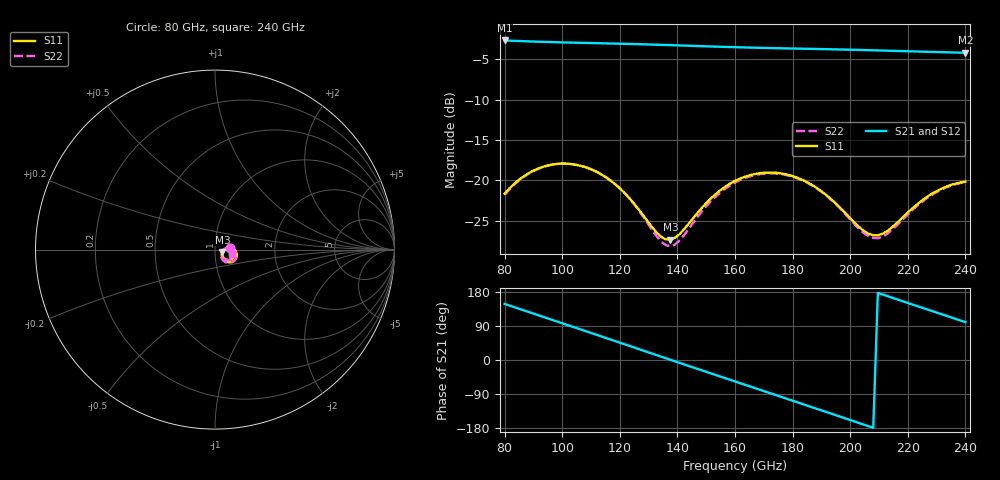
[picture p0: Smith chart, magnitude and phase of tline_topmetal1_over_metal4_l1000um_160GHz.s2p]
#  GHZ S DB R 50
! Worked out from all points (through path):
!   101 points, 80 GHz to 240 GHz, reference 50 ohm
!   highest |S21| = -2.70 dB at 80 GHz (marker M1); lowest = -4.2 dB at 240 GHz (marker M2)
!   group delay of S21, straight-line fit = 7.09 ps
!   lowest |S11| = -27.3 dB at 137.6 GHz (marker M3), VSWR 1.09, Z = 54.3 - j1.42 ohm
!   |S11| at or under -10 dB: start of sweep to end of sweep
!   |S22| runs from -28.1 to -17.9 dB; largest |S21 - S12| = 1.1e-13
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80  -21.64 5.9  -2.70 147.9  -2.70 147.9  -21.79 5.7
88  -19.18 -1.6  -2.81 127.5  -2.81 127.5  -19.24 -2.0
94.4  -18.21 -10.8  -2.88 111.2  -2.88 111.2  -18.23 -11.6
100.8  -17.93 -21.0  -2.94 94.9  -2.94 94.9  -17.93 -22.1
107.2  -18.27 -31.2  -3.00 78.6  -3.00 78.6  -18.26 -32.7
113.6  -19.27 -40.5  -3.05 62.2  -3.05 62.2  -19.24 -42.5
121.6  -21.54 -48.6  -3.12 41.6  -3.12 41.6  -21.55 -51.6
128  -24.27 -47.8  -3.18 25.1  -3.18 25.1  -24.42 -51.9
134.4  -26.99 -31.7  -3.24 8.7  -3.24 8.7  -27.57 -36.1
137.6  -27.33 -17.7  -3.28 0.5  -3.28 0.5  -28.13 -20.6
140.8  -26.62 -5.0  -3.32 -7.7  -3.32 -7.7  -27.41 -5.8
148.8  -23.27 7.3  -3.41 -28.2  -3.41 -28.2  -23.70 8.1
160  -20.07 -0.8  -3.53 -56.7  -3.53 -56.7  -20.26 -0.4
172.8  -19.03 -19.0  -3.64 -89.1  -3.64 -89.1  -19.13 -19.3
179.2  -19.39 -28.4  -3.69 -105.4  -3.69 -105.4  -19.46 -29.0
187.2  -20.66 -38.3  -3.75 -125.8  -3.75 -125.8  -20.72 -39.4
196.8  -23.49 -43.1  -3.82 -150.3  -3.82 -150.3  -23.59 -44.8
206.4  -26.61 -27.1  -3.90 -174.8  -3.90 -174.8  -26.91 -28.9
209.6  -26.79 -16.7  -3.93 177.0  -3.93 177.0  -27.14 -18.0
214.4  -25.84 -3.6  -3.98 164.8  -3.98 164.8  -26.16 -4.0
228.8  -21.56 0.1  -4.12 128.2  -4.12 128.2  -21.69 -0.1
240  -20.16 -12.8  -4.22 99.9  -4.22 99.9  -20.23 -13.3
